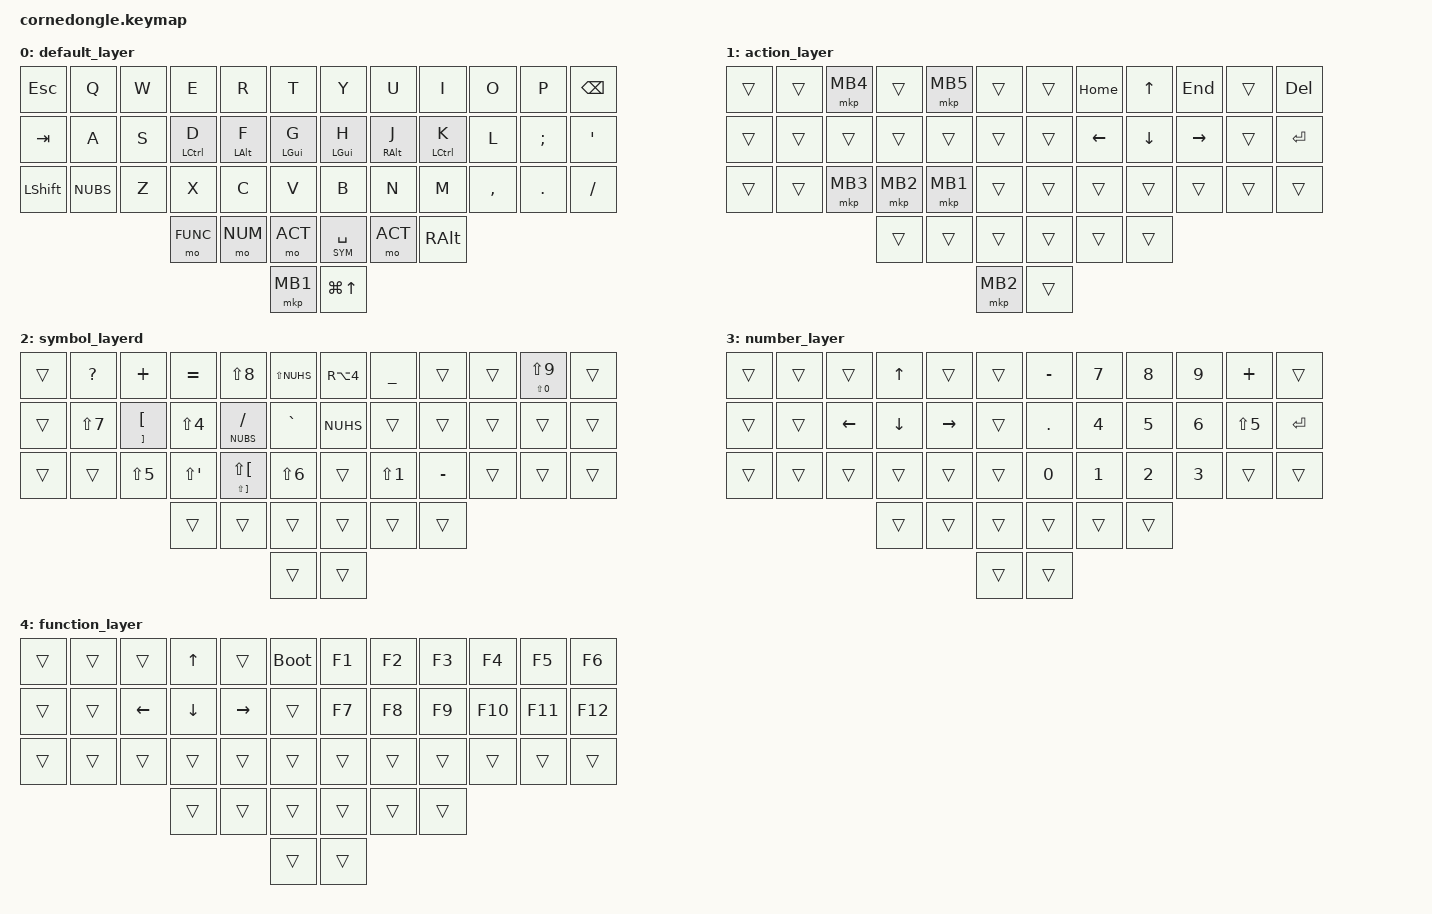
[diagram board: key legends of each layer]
/*
 * Copyright (c) 2020 The ZMK Contributors
 *
 * SPDX-License-Identifier: MIT
 */

#include <behaviors.dtsi>
#include <dt-bindings/zmk/keys.h>
#include <dt-bindings/zmk/bt.h>
#include <dt-bindings/zmk/mouse.h>

#define DEFAULT 0
#define ACT 1
#define SYM 2
#define NUM 3
#define FUNC 4

/ {
    behaviors {
        hm: homerow_mods {
            compatible = "zmk,behavior-hold-tap";
            #binding-cells = <2>;
            tapping-term-ms = <200>;
            flavor = "balanced";
            bindings = <&kp>, <&kp>;
        };
    };

    keymap {
        compatible = "zmk,keymap";

        default_layer {
            bindings = <
        &kp ESC     &kp Q       &kp W       &kp E       &kp R           &kp T               &kp Y           &kp U       &kp I       &kp O           &kp P       &kp BSPC
        &kp TAB     &kp A       &kp S       &hm LCTRL D &hm LALT F      &hm LGUI G          &hm LGUI H      &hm RALT J  &hm LCTRL K &kp L           &kp SEMI    &kp SQT
        &kp LSHFT   &kp NUBS    &kp Z       &kp X       &kp C           &kp V               &kp B           &kp N       &kp M       &kp COMMA       &kp DOT     &kp FSLH    
                                            &mo FUNC    &mo NUM         &mo ACT             &lt SYM SPACE   &mo ACT     &kp RALT
                                                                        &mkp MB1            &kp LG(UP)                                    
            >;
        };
        
        action_layer {
            bindings = <
        &trans      &trans      &mkp MB4    &trans      &mkp MB5        &trans              &trans      &kp HOME    &kp UP      &kp END     &trans      &kp DEL
        &trans      &trans      &trans      &trans      &trans          &trans              &trans      &kp LEFT    &kp DOWN    &kp RIGHT   &trans      &kp RET
        &trans      &trans      &mkp MB3    &mkp MB2    &mkp MB1        &trans              &trans      &trans      &trans      &trans      &trans      &trans
                                            &trans      &trans          &trans              &trans      &trans      &trans
                                                                        &mkp MB2            &trans
            >;
        };

        symbol_layerd {
            bindings = <
        &trans  &kp QMARK   &kp PLUS        &kp EQUAL   &kp LS(N8)              &kp LS(NUHS)            &kp RA(N4)  &kp UNDER   &trans      &trans  &mt LS(N0) LS(N9)   &trans
        &trans  &kp LS(N7)  &mt RBKT LBKT   &kp LS(N4)  &mt NUBS FSLH           &kp GRAVE               &kp NUHS    &trans      &trans      &trans  &trans              &trans
        &trans  &trans      &kp LS(N5)      &kp LS(SQT) &mt LS(RBKT) LS(LBKT)   &kp LS(N6)              &trans      &kp LS(N1)  &kp MINUS   &trans  &trans              &trans
                                            &trans      &trans                  &trans                  &trans      &trans      &trans
                                                                                &trans                  &trans
            >;
        };

        number_layer {
            bindings = <
        &trans      &trans      &trans      &kp UP      &trans          &trans              &kp MINUS       &kp N7      &kp N8      &kp N9      &kp PLUS    &trans
        &trans      &trans      &kp LEFT    &kp DOWN    &kp RIGHT       &trans              &kp DOT         &kp N4      &kp N5      &kp N6      &kp LS(N5)  &kp RET
        &trans      &trans      &trans      &trans      &trans          &trans              &kp N0          &kp N1      &kp N2      &kp N3      &trans      &trans
                                            &trans      &trans          &trans              &trans          &trans      &trans
                                                                        &trans              &trans
            >;
        };

        function_layer {
            bindings = <
        &trans      &trans      &trans      &kp UP      &trans          &bootloader        &kp F1      &kp F2      &kp F3      &kp F4      &kp F5      &kp F6
        &trans      &trans      &kp LEFT    &kp DOWN    &kp RIGHT       &trans              &kp F7      &kp F8      &kp F9      &kp F10     &kp F11     &kp F12
        &trans      &trans      &trans      &trans      &trans          &trans              &trans      &trans      &trans      &trans      &trans      &trans
                                            &trans      &trans          &trans              &trans      &trans      &trans
                                                                        &trans              &trans
            >;
        };
    };
};
